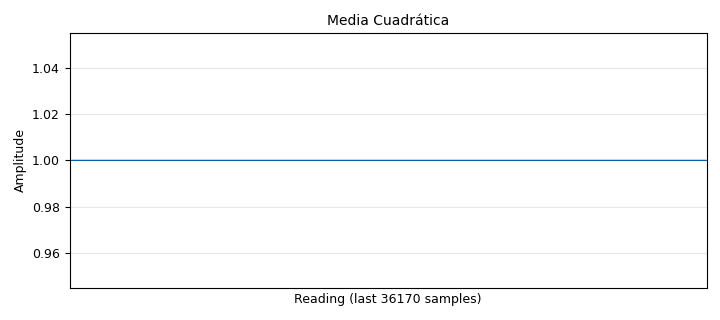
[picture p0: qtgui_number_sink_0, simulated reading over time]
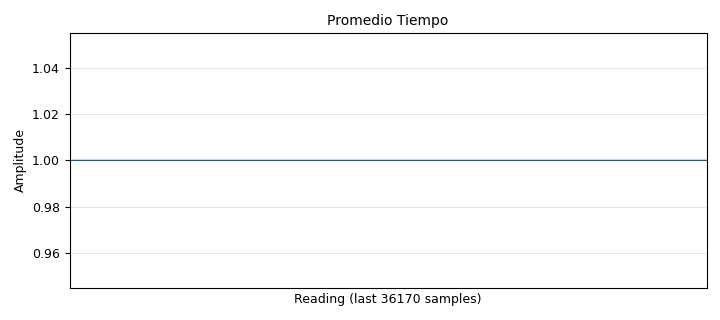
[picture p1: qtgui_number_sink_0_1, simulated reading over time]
options:
  parameters:
    generate_options: qt_gui
    id: Práctica_1
    output_language: python
    title: Practica 2
  states: {}

blocks:
- name: samp_rate
  id: variable
  parameters:
    value: '256000'
  states: {}
- name: blocks_throttle2_0
  id: blocks_throttle2
  parameters:
    samples_per_second: samp_rate
    type: float
  states: {state: disabled}
- name: blocks_vector_source_x_0
  id: blocks_vector_source_x
  parameters:
    repeat: 'True'
    type: float
    vector: (1, 1, 1, 1,1, 1, 1, 1,1, 1, 1, 1,1, 1, 1, 1,1, 1, 1, 1,1, 1, 1, 1,1, 1, 1, 1,1, 1, 1, 1,-1, -1, -1, -1,-1, -1, -1, -1,-1, -1, -1, -1,-1, -1, -1, -1,-1, -1, -1, -1,-1, -1, -1, -1,-1, -1, -1, -1,-1, -1, -1, -1)
  states: {state: disabled}
- name: blocks_vector_source_x_0_0
  id: blocks_vector_source_x
  parameters:
    repeat: 'True'
    type: float
    vector: (1,1,1,1,1,1,1,1,-1,-1,-1,-1,-1,-1,-1,-1)
  states: {}
- name: epy_block_0
  id: epy_block
  parameters:
    _source_code: |
      import numpy as np
      from gnuradio import gr

      class blk(gr.sync_block):
          def __init__(self):  # solo argumentos por defecto
              gr.sync_block.__init__(
                  self,
                  name='Promedios_de_tiempos',   # Nombre que aparecerá en GRC
                  in_sig=[np.float32],
                  out_sig=[np.float32, np.float32, np.float32, np.float32, np.float32]
              )
              # Inicialización de acumuladores
              self.acum_anterior = 0.0
              self.acum_anterior1 = 0.0
              self.acum_anterior2 = 0.0
              self.Ntotales = 0

          def work(self, input_items, output_items):
              x = input_items[0]  # Señal de entrada
              y0 = output_items[0]  # Promedio acumulado
              y1 = output_items[1]  # Media (esperanza matemática)
              y2 = output_items[2]  # RMS
              y3 = output_items[3]  # Potencia promedio
              y4 = output_items[4]  # Desviación estándar

              # Número de muestras en este bloque
       

              # --- Cálculo del promedio ---
         
              y0[:] = np.mean(x)

              # --- Cálculo de la media cuadrática (para RMS) ---

              media_cuadratica = np.mean(x**2)

              # --- RMS ---
              y2[:] = np.sqrt(media_cuadratica)

              # --- Potencia promedio ---
              y3[:] = media_cuadratica

              # --- Media (simplemente el promedio) ---
              y1[:] = media_cuadratica

              # --- Desviación estándar ---

              y4[:] = np.std(x)

              return len(x)
  states: {}
- name: epy_block_0_0_0
  id: epy_block
  parameters:
    _source_code: |
      import numpy as np
      from gnuradio import gr
      class blk (gr. sync_block ):
          def __init__ ( self ) : # only default arguments here
              gr. sync_block . __init__ (self,
              name ='e_Acum ', # will show up in GRC
              in_sig =[ np. float32 ],
              out_sig =[ np. float32 ]
          )
          def work (self , input_items , output_items ):
              x = input_items [0] # Senial de entrada .
              y0 = output_items [0] # Senial acumulada
              y0 [:] = np. cumsum (x)
              
              return len (y0)
  states: {state: disabled}
- name: epy_block_0_0_0_0
  id: epy_block
  parameters:
    _source_code: |
      import numpy as np
      from gnuradio import gr

      class blk(gr.sync_block):
          def __init__(self):
              gr.sync_block.__init__(
                  self,
                  name='diferenciador',   # aparecerá en GRC
                  in_sig=[np.float32],
                  out_sig=[np.float32]
              )
              self.last_sample = 0.0   # última muestra del bloque anterior

          def work(self, input_items, output_items):
              x = input_items[0]   # señal de entrada
              y0 = output_items[0] # señal de salida (diferenciada)

              # Calcular diferencias
              y0[0] = x[0] - self.last_sample   # primera diferencia usando la memoria
              y0[1:] = np.diff(x)               # diferencias dentro del bloque

              # Guardar la última muestra del bloque actual
              self.last_sample = x[-1]

              return len(y0)
  states: {state: disabled}
- name: qtgui_number_sink_0
  id: qtgui_number_sink
  parameters:
    graph_type: qtgui.NUM_GRAPH_HORIZ
    name: Media Cuadrática
    type: float
  states: {}
- name: qtgui_number_sink_0_0
  id: qtgui_number_sink
  parameters:
    graph_type: qtgui.NUM_GRAPH_HORIZ
    name: Entrada
    type: float
  states: {state: disabled}
- name: qtgui_number_sink_0_1
  id: qtgui_number_sink
  parameters:
    graph_type: qtgui.NUM_GRAPH_HORIZ
    name: Promedio Tiempo
    type: float
  states: {}
- name: qtgui_number_sink_0_2
  id: qtgui_number_sink
  parameters:
    graph_type: qtgui.NUM_GRAPH_HORIZ
    name: Desviación Estándar
    type: float
  states: {}
- name: qtgui_number_sink_0_3
  id: qtgui_number_sink
  parameters:
    graph_type: qtgui.NUM_GRAPH_HORIZ
    name: Media
    type: float
  states: {}
- name: qtgui_number_sink_0_4
  id: qtgui_number_sink
  parameters:
    graph_type: qtgui.NUM_GRAPH_HORIZ
    name: RMS
    type: float
  states: {}
- name: qtgui_time_sink_x_0
  id: qtgui_time_sink_x
  parameters:
    label1: Salida
    name: '"Salida"'
    size: '200'
    srate: samp_rate
    type: float
  states: {state: disabled}
- name: qtgui_time_sink_x_0_0
  id: qtgui_time_sink_x
  parameters:
    label1: Entrada
    name: '"Entrada"'
    size: '200'
    srate: samp_rate
    type: float
  states: {state: disabled}
- name: qtgui_time_sink_x_0_1
  id: qtgui_time_sink_x
  parameters:
    label1: Salida
    name: Media
    size: '200'
    srate: samp_rate
    type: float
  states: {state: disabled}
- name: qtgui_time_sink_x_0_2
  id: qtgui_time_sink_x
  parameters:
    label1: Salida
    name: Media cuadrática
    size: '200'
    srate: samp_rate
    type: float
  states: {state: disabled}
- name: qtgui_time_sink_x_0_2_0
  id: qtgui_time_sink_x
  parameters:
    label1: Entrada
    name: Señal de entrada
    size: '2560'
    srate: samp_rate
    type: float
  states: {state: disabled}

connections:
- [blocks_throttle2_0, '0', qtgui_time_sink_x_0, '0']
- [blocks_vector_source_x_0, '0', epy_block_0, '0']
- [blocks_vector_source_x_0, '0', epy_block_0_0_0, '0']
- [blocks_vector_source_x_0, '0', epy_block_0_0_0_0, '0']
- [blocks_vector_source_x_0, '0', qtgui_time_sink_x_0_0, '0']
- [blocks_vector_source_x_0_0, '0', epy_block_0, '0']
- [blocks_vector_source_x_0_0, '0', qtgui_number_sink_0_0, '0']
- [blocks_vector_source_x_0_0, '0', qtgui_time_sink_x_0_2_0, '0']
- [epy_block_0, '0', qtgui_number_sink_0_3, '0']
- [epy_block_0, '0', qtgui_time_sink_x_0_1, '0']
- [epy_block_0, '1', qtgui_number_sink_0, '0']
- [epy_block_0, '1', qtgui_time_sink_x_0_2, '0']
- [epy_block_0, '2', qtgui_number_sink_0_4, '0']
- [epy_block_0, '3', qtgui_number_sink_0_1, '0']
- [epy_block_0, '4', qtgui_number_sink_0_2, '0']
- [epy_block_0_0_0, '0', blocks_throttle2_0, '0']
- [epy_block_0_0_0_0, '0', blocks_throttle2_0, '0']

metadata:
  file_format: 1
  grc_version: v3.10.11.0-89-ga17f69e7
